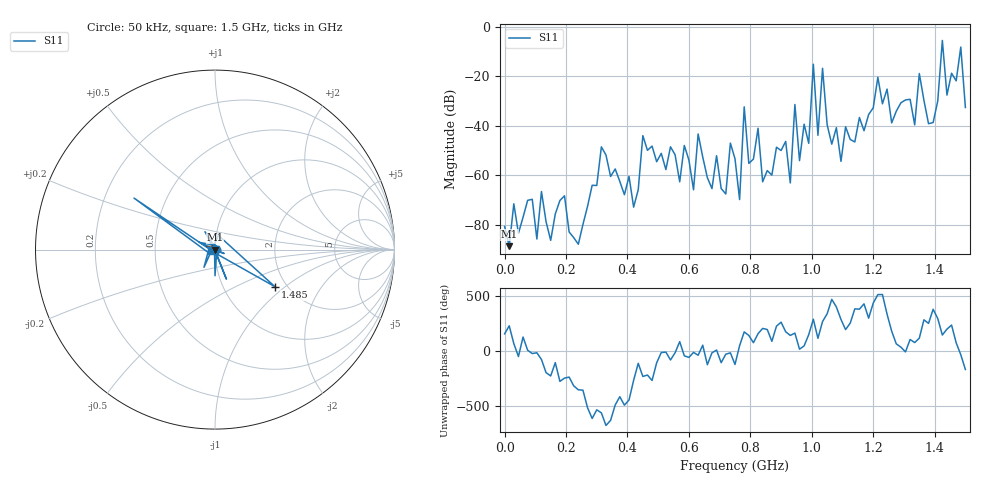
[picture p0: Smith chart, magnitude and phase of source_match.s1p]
! Created with skrf 1.8.0 (http://scikit-rf.org).
# Hz S RI R 50.0
!freq ReS11 ImS11
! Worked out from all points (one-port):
!   101 points, 50 kHz to 1.5 GHz, reference 50 ohm
!   lowest |S11| = -88.8 dB at 15.05 MHz (marker M1), VSWR 1.00, Z = 50 - j0.00284 ohm
!   |S11| at or under -10 dB: start of sweep to 1.422 GHz; 1.428 GHz to 1.483 GHz (54.83 MHz wide, 3.77 % of centre); 1.486 GHz to end of sweep
!   S11 on the Smith chart (normalised r, x): 50 kHz: 1.00, +0.00; 1.485 GHz: 1.74, -0.85; 1.5 GHz: 0.96, -0.01
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50000  -8.47e-05 3.41e-05
1.50495e7  -2.29e-05 -2.84e-05
1.950435e8  -0.000165 0.000344
3.750375e8  0.000446 -0.000601
4.20036e8  -2.24e-05 0.000224
4.50035e8  -0.00413 0.00478
5.70031e8  3.55e-05 0.000733
6.30029e8  0.00549 -0.00407
7.50025e8  -0.00108 -0.00185
7.650245e8  0.000203 0.000249
7.80024e8  -0.0241 0.00183
7.950235e8  -0.00139 0.00103
9.30019e8  -0.000561 0.000413
9.450185e8  -0.026 0.00702
9.60018e8  0.00187 0.00063
9.90017e8  -0.00385 0.00216
1.005016e9  0.0635 -0.1645
1.020016e9  -0.00293 0.00571
1.035016e9  0.000151 -0.1458
1.065014e9  -0.00158 0.00394
1.125012e9  -0.00137 -0.00512
1.21501e9  -0.087 0.0405
1.320006e9  -0.01 0.0329
1.395004e9  0.0108 0.00429
1.425002e9  -0.4514 0.2871
1.440002e9  -0.0391 -0.015
1.485e9  0.3342 -0.2068
1.5e9  -0.0228 -0.00567
